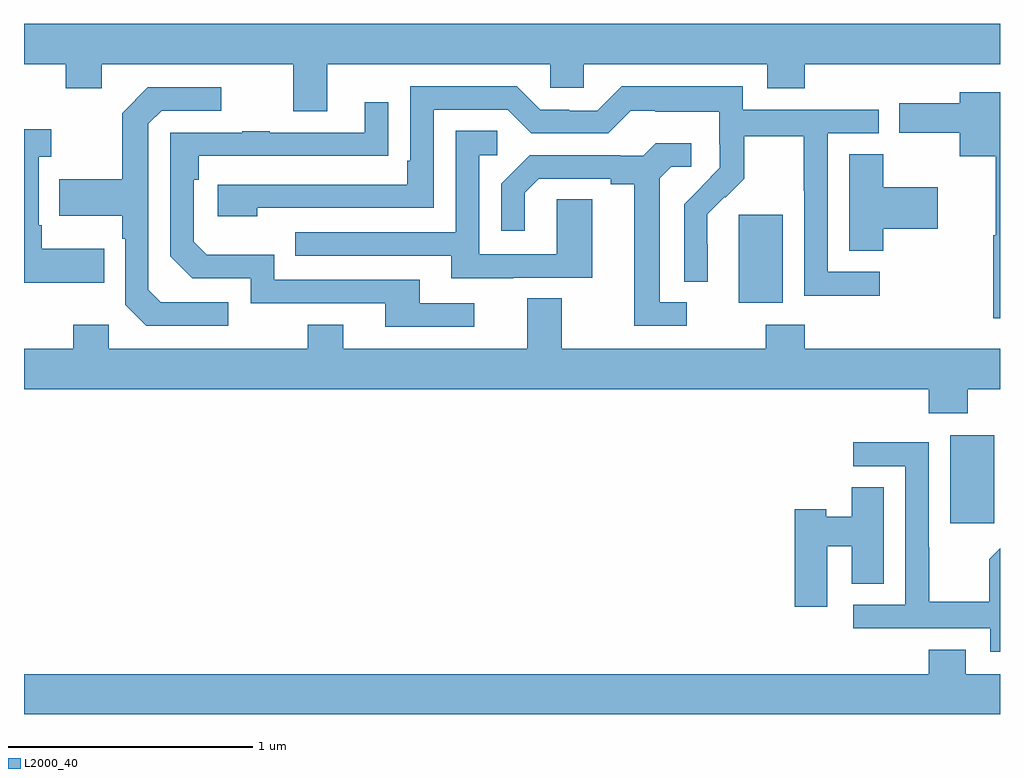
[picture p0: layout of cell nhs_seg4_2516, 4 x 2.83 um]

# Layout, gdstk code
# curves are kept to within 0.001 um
import gdstk
lib = gdstk.Library(unit=1e-6, precision=1e-09)
def R(c, l, rs):  # rectangles x0, y0, x1, y1
    for r in rs: c.add(gdstk.rectangle(r[:2], r[2:], *l))
def P(c, l, *ps):  # polygons
    for p in ps: c.add(gdstk.Polygon(p, *l))
L2000_40 = (2000, 40)

nhs_seg4_2516 = lib.new_cell('nhs_seg4_2516')
R(nhs_seg4_2516, L2000_40, [(246.797,760.305,246.976,760.666), (245.93,761.21,246.109,761.571)])
P(nhs_seg4_2516, L2000_40, [(244.243,762.188),(245.157,762.188),(245.157,762.09),(245.295,762.09),(245.295,762.188),(246.047,762.188),(246.047,762.089),(246.2,762.089),(246.2,762.188),(247,762.188),(247,762.352),(243,762.352),(243,762.188),(243.172,762.188),(243.172,762.089),(243.319,762.089),(243.319,762.188),(244.103,762.188),(244.103,761.994),(244.243,761.994)],
  [(246.508,761.337),(246.294,761.337),(246.294,761.904),(246.503,761.904),(246.503,762),(245.946,762),(245.946,762.097),(245.449,762.097),(245.349,761.997),(245.234,761.997),(245.234,762),(245.115,762),(245.019,762.096),(244.584,762.096),(244.584,761.791),(244.571,761.791),(244.571,761.694),(243.795,761.694),(243.795,761.564),(243.956,761.564),(243.956,761.598),(244.68,761.598),(244.68,762),(244.983,762),(245.079,761.904),(245.394,761.904),(245.487,761.997),(245.587,761.997),(245.587,761.993),(245.85,761.993),(245.85,761.859),(245.852,761.859),(245.852,761.762),(245.706,761.614),(245.706,761.296),(245.802,761.296),(245.801,761.573),(245.871,761.643),(245.874,761.64),(245.951,761.717),(245.951,761.892),(246.196,761.892),(246.196,761.668),(246.198,761.668),(246.198,761.239),(246.508,761.239)],
  [(243.838,761.211),(243.561,761.211),(243.51,761.262),(243.51,761.943),(243.564,761.997),(243.808,761.997),(243.808,762.093),(243.507,762.093),(243.402,761.987),(243.402,761.715),(243.145,761.715),(243.145,761.567),(243.402,761.567),(243.402,761.471),(243.414,761.471),(243.414,761.202),(243.501,761.115),(243.838,761.115)],
  [(247,762.073),(246.836,762.073),(246.836,762.028),(246.588,762.028),(246.588,761.906),(246.836,761.906),(246.836,761.81),(246.983,761.81),(246.983,761.486),(246.973,761.486),(246.973,761.145),(247,761.145)],
  [(244.846,761.208),(244.621,761.208),(244.621,761.304),(244.026,761.304),(244.026,761.407),(243.749,761.407),(243.696,761.46),(243.696,761.714),(243.716,761.714),(243.716,761.811),(244.493,761.812),(244.493,762.031),(244.397,762.031),(244.397,761.907),(244.007,761.907),(244.007,761.912),(243.895,761.912),(243.895,761.907),(243.6,761.907),(243.6,761.4),(243.69,761.31),(243.93,761.31),(243.93,761.208),(244.481,761.208),(244.481,761.112),(244.846,761.112)],
  [(243.329,761.431),(243.073,761.431),(243.073,761.527),(243.06,761.527),(243.06,761.807),(243.112,761.807),(243.112,761.92),(243,761.92),(243,761.291),(243.329,761.291)],
  [(245.005,761.313),(245.329,761.313),(245.329,761.633),(245.184,761.633),(245.184,761.409),(244.866,761.409),(244.866,761.814),(244.939,761.814),(244.939,761.915),(244.77,761.915),(244.77,761.499),(244.111,761.499),(244.111,761.403),(244.751,761.403),(244.751,761.309),(245.005,761.309)],
  [(245.716,761.211),(245.605,761.211),(245.605,761.719),(245.652,761.766),(245.734,761.766),(245.734,761.863),(245.59,761.863),(245.538,761.811),(245.444,761.811),(245.444,761.814),(245.072,761.814),(244.956,761.698),(244.956,761.505),(245.053,761.505),(245.053,761.661),(245.11,761.718),(245.405,761.718),(245.405,761.696),(245.501,761.696),(245.501,761.115),(245.716,761.115)],
  [(246.522,761.513),(246.745,761.513),(246.745,761.683),(246.522,761.683),(246.522,761.819),(246.383,761.819),(246.383,761.422),(246.522,761.422)],
  [(246.867,760.856),(247,760.856),(247,761.02),(246.2,761.02),(246.2,761.119),(246.04,761.119),(246.04,761.02),(245.203,761.02),(245.203,761.228),(245.063,761.228),(245.063,761.02),(244.309,761.02),(244.309,761.119),(244.162,761.119),(244.162,761.02),(243.348,761.02),(243.348,761.119),(243.202,761.119),(243.202,761.02),(243,761.02),(243,760.856),(246.707,760.856),(246.707,760.757),(246.867,760.757)],
  [(247,760.204),(246.955,760.159),(246.955,759.985),(246.711,759.985),(246.711,760.208),(246.708,760.208),(246.708,760.638),(246.399,760.638),(246.399,760.539),(246.612,760.539),(246.612,759.972),(246.399,759.972),(246.399,759.876),(246.96,759.876),(246.96,759.779),(247,759.779)],
  [(246.292,760.211),(246.392,760.211),(246.392,760.057),(246.523,760.057),(246.523,760.454),(246.392,760.454),(246.392,760.333),(246.288,760.333),(246.288,760.364),(246.158,760.364),(246.158,759.963),(246.292,759.963)],
  [(247,759.688),(246.859,759.688),(246.859,759.787),(246.707,759.787),(246.707,759.688),(243,759.688),(243,759.524),(247,759.524)])

lib.write_gds('nhs_seg4_2516.gds')
